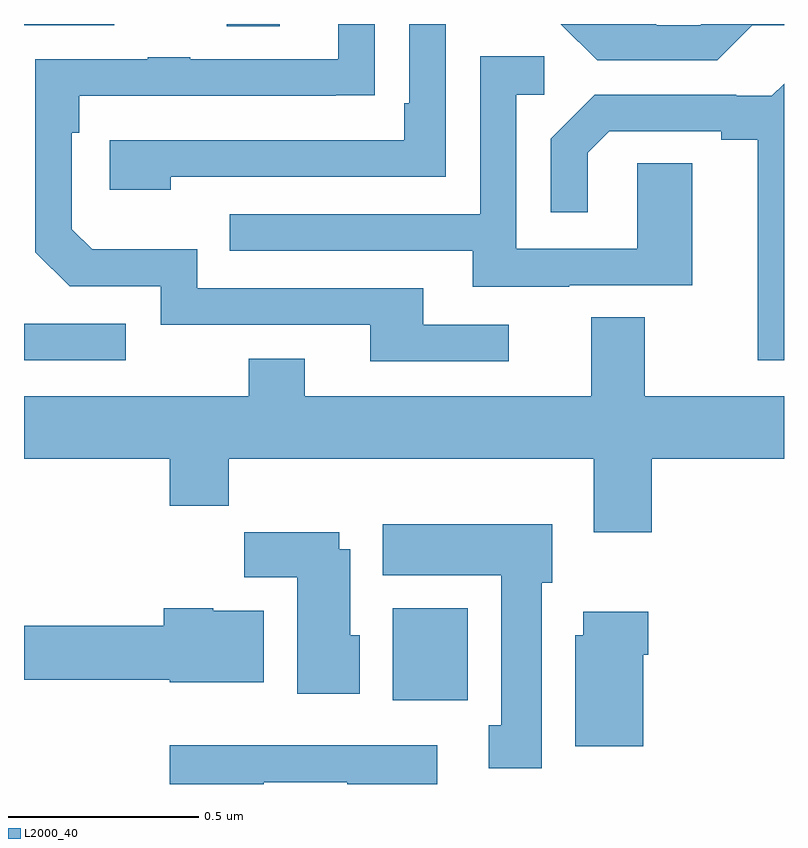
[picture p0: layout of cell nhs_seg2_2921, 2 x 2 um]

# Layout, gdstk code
import gdstk
lib = gdstk.Library(unit=1e-6, precision=1e-09)
def R(c, l, rs):  # rectangles x0, y0, x1, y1
    for r in rs: c.add(gdstk.rectangle(r[:2], r[2:], *l))
def P(c, l, *ps):  # polygons
    for p in ps: c.add(gdstk.Polygon(p, *l))
L2000_40 = (2000, 40)

nhs_seg2_2921 = lib.new_cell('nhs_seg2_2921')
R(nhs_seg2_2921, L2000_40, [(147.971,627.02,148.168,627.262), (147,627.915,147.268,628.011), (147.533,628.794,147.673,628.8), (147,628.797,147.238,628.8)])
P(nhs_seg2_2921, L2000_40, [(148.276,628.008),(148.051,628.008),(148.051,628.104),(147.456,628.104),(147.456,628.207),(147.179,628.207),(147.126,628.26),(147.126,628.514),(147.146,628.514),(147.146,628.611),(147.821,628.611),(147.821,628.612),(147.923,628.612),(147.923,628.8),(147.827,628.8),(147.827,628.707),(147.437,628.707),(147.437,628.712),(147.325,628.712),(147.325,628.707),(147.03,628.707),(147.03,628.2),(147.12,628.11),(147.36,628.11),(147.36,628.008),(147.911,628.008),(147.911,627.912),(148.276,627.912)],
  [(147.386,628.398),(148.11,628.398),(148.11,628.8),(148.014,628.8),(148.014,628.591),(148.001,628.591),(148.001,628.494),(147.225,628.494),(147.225,628.364),(147.386,628.364)],
  [(148.917,628.797),(149,628.797),(149,628.8),(148.782,628.8),(148.779,628.797),(148.664,628.797),(148.664,628.8),(148.413,628.8),(148.509,628.704),(148.824,628.704)],
  [(148.435,628.113),(148.759,628.113),(148.759,628.433),(148.614,628.433),(148.614,628.209),(148.296,628.209),(148.296,628.614),(148.369,628.614),(148.369,628.715),(148.2,628.715),(148.2,628.299),(147.541,628.299),(147.541,628.203),(148.181,628.203),(148.181,628.109),(148.435,628.109)],
  [(149,628.643),(148.968,628.611),(148.874,628.611),(148.874,628.614),(148.502,628.614),(148.386,628.498),(148.386,628.305),(148.483,628.305),(148.483,628.461),(148.54,628.518),(148.835,628.518),(148.835,628.496),(148.931,628.496),(148.931,627.915),(149,627.915)],
  [(148.652,627.656),(149,627.656),(149,627.82),(148.633,627.82),(148.633,628.028),(148.493,628.028),(148.493,627.82),(147.739,627.82),(147.739,627.919),(147.592,627.919),(147.592,627.82),(147,627.82),(147,627.656),(147.383,627.656),(147.383,627.532),(147.539,627.532),(147.539,627.656),(148.499,627.656),(148.499,627.462),(148.652,627.462)],
  [(148.363,627.33),(148.39,627.33),(148.39,627.484),(147.944,627.484),(147.944,627.35),(148.256,627.35),(148.256,626.954),(148.223,626.954),(148.223,626.841),(148.363,626.841)],
  [(147.883,627.192),(147.859,627.192),(147.859,627.418),(147.829,627.418),(147.829,627.463),(147.58,627.463),(147.58,627.344),(147.719,627.344),(147.719,627.038),(147.883,627.038)],
  [(147.631,627.256),(147.498,627.256),(147.498,627.262),(147.368,627.262),(147.368,627.216),(147,627.216),(147,627.074),(147.384,627.074),(147.384,627.068),(147.631,627.068)],
  [(148.63,627.14),(148.643,627.14),(148.643,627.253),(148.472,627.253),(148.472,627.192),(148.451,627.192),(148.451,626.9),(148.63,626.9)],
  [(147.631,626.805),(147.851,626.805),(147.851,626.8),(148.087,626.8),(148.087,626.902),(147.383,626.902),(147.383,626.8),(147.631,626.8)])

lib.write_gds('nhs_seg2_2921.gds')
